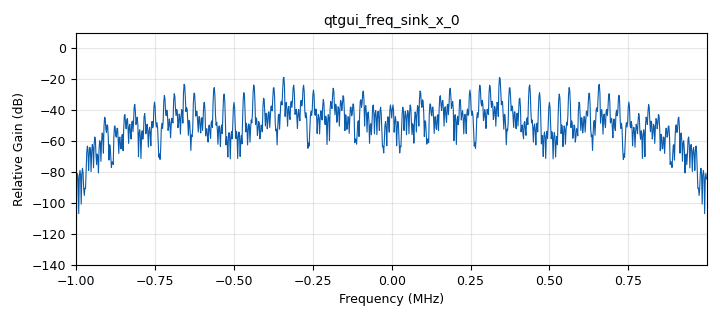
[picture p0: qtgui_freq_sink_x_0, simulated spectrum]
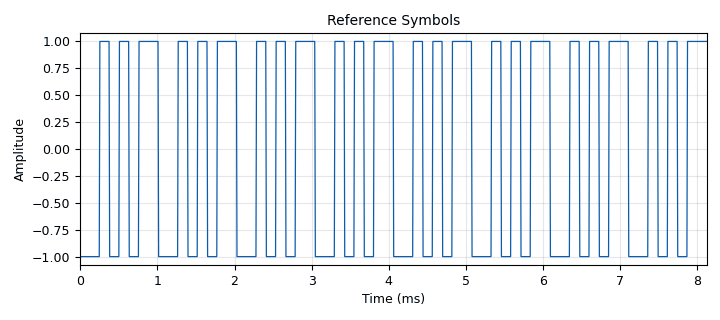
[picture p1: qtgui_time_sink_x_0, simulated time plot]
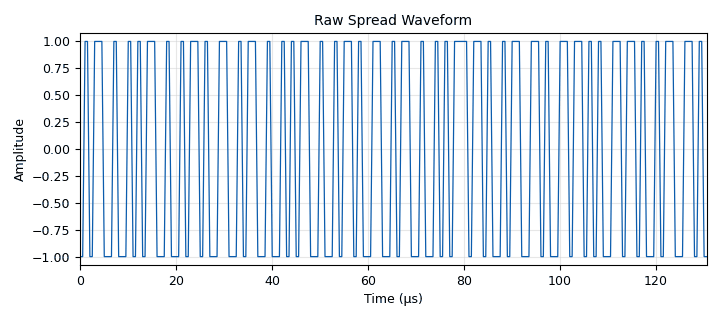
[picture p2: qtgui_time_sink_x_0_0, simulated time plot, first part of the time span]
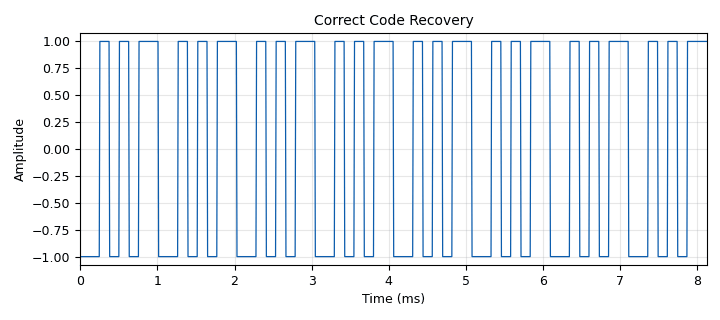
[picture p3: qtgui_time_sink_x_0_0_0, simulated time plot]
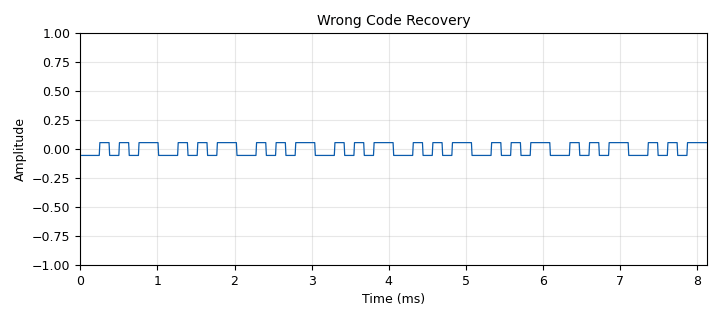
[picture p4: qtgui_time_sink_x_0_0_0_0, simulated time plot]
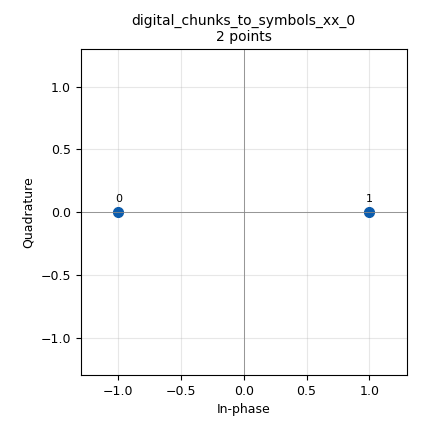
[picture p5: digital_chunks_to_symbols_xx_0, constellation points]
options:
  parameters:
    generate_options: qt_gui
    id: spreadtest
    output_language: python
    title: Not titled yet
  states: {}

blocks:
- name: bit_pattern
  id: variable
  parameters:
    value: '[1,0,1,1,0,0,1,0]'
  states: {}
- name: code_len
  id: variable
  parameters:
    value: '127'
  states: {}
- name: pn_code
  id: variable
  parameters:
    value: '[1,-1,1,1,-1,1,-1,-1,1,-1,1,1,-1,-1,1,1,-1,1,-1,-1,1,1,-1,1,1,-1,1,-1,1,-1,-1,1,1,-1,1,1,-1,1,-1,-1,1,-1,1,1,-1,-1,1,1,-1,1,-1,-1,1,1,-1,1,1,-1,1,-1,1,-1,-1,1,1,-1,1,1,-1,1,-1,-1,1,-1,1,1,-1,-1,1,1,-1,1,-1,-1,1,1,-1,1,1,-1,1,-1,1,-1,-1,1,1,-1,1,1,-1,1,-1,-1,1,-1,1,1,-1,-1,1,1,-1,1,-1,-1,1,1,-1,1,1,-1,1,-1,1,-1,-1]'
  states: {}
- name: samp_rate
  id: variable
  parameters:
    value: 2e6
  states: {}
- name: samples_per_symbol
  id: variable
  parameters:
    value: code_len * sps_chip
  states: {}
- name: sps_chip
  id: variable
  parameters:
    value: '2'
  states: {}
- name: wrong_code
  id: variable
  parameters:
    value: '[1 if ((37*i + 11) % 127) < 63 else -1 for i in range(code_len)]'
  states: {}
- name: blocks_keep_one_in_n_0
  id: blocks_keep_one_in_n
  parameters:
    n: samples_per_symbol
    type: float
  states: {}
- name: blocks_keep_one_in_n_0_0
  id: blocks_keep_one_in_n
  parameters:
    n: samples_per_symbol
    type: float
  states: {}
- name: blocks_moving_average_xx_0
  id: blocks_moving_average_xx
  parameters:
    length: samples_per_symbol
    max_iter: '4000'
    scale: 1.0 / samples_per_symbol
    type: float
  states: {}
- name: blocks_moving_average_xx_0_0
  id: blocks_moving_average_xx
  parameters:
    length: samples_per_symbol
    max_iter: '4000'
    scale: 1.0 / samples_per_symbol
    type: float
  states: {}
- name: blocks_multiply_xx_0
  id: blocks_multiply_xx
  parameters:
    type: float
  states: {}
- name: blocks_multiply_xx_0_0
  id: blocks_multiply_xx
  parameters:
    type: float
  states: {}
- name: blocks_multiply_xx_0_0_0
  id: blocks_multiply_xx
  parameters:
    type: float
  states: {}
- name: blocks_repeat_0
  id: blocks_repeat
  parameters:
    interp: samples_per_symbol
    type: float
  states: {}
- name: blocks_repeat_0_0
  id: blocks_repeat
  parameters:
    interp: sps_chip
    type: float
  states: {}
- name: blocks_repeat_0_0_0
  id: blocks_repeat
  parameters:
    interp: sps_chip
    type: float
  states: {}
- name: blocks_repeat_0_0_1
  id: blocks_repeat
  parameters:
    interp: '16'
    type: float
  states: {}
- name: blocks_repeat_0_0_1_0
  id: blocks_repeat
  parameters:
    interp: '16'
    type: float
  states: {}
- name: blocks_repeat_0_0_1_0_0
  id: blocks_repeat
  parameters:
    interp: '16'
    type: float
  states: {}
- name: blocks_throttle2_0
  id: blocks_throttle2
  parameters:
    samples_per_second: samp_rate
    type: float
  states: {}
- name: blocks_vector_source_x_0
  id: blocks_vector_source_x
  parameters:
    repeat: 'True'
    type: byte
    vector: bit_pattern
  states: {}
- name: blocks_vector_source_x_0_0
  id: blocks_vector_source_x
  parameters:
    repeat: 'True'
    type: float
    vector: pn_code
  states: {}
- name: blocks_vector_source_x_0_0_0
  id: blocks_vector_source_x
  parameters:
    repeat: 'True'
    type: float
    vector: wrong_code
  states: {}
- name: digital_chunks_to_symbols_xx_0
  id: digital_chunks_to_symbols_xx
  parameters:
    dimension: '1'
    in_type: byte
    out_type: float
    symbol_table: '[-1.0,1.0]'
  states: {}
- name: qtgui_freq_sink_x_0
  id: qtgui_freq_sink_x
  parameters:
    bw: samp_rate
    fc: '0'
    fftsize: '1024'
    type: float
  states: {}
- name: qtgui_time_sink_x_0
  id: qtgui_time_sink_x
  parameters:
    name: '"Reference Symbols"'
    size: '1024'
    srate: (samp_rate / samples_per_symbol) * 16
    type: float
  states: {}
- name: qtgui_time_sink_x_0_0
  id: qtgui_time_sink_x
  parameters:
    name: '"Raw Spread Waveform"'
    size: '1024'
    srate: samp_rate
    type: float
  states: {}
- name: qtgui_time_sink_x_0_0_0
  id: qtgui_time_sink_x
  parameters:
    name: '"Correct Code Recovery"'
    size: '1024'
    srate: (samp_rate / samples_per_symbol) * 16
    type: float
  states: {}
- name: qtgui_time_sink_x_0_0_0_0
  id: qtgui_time_sink_x
  parameters:
    name: '"Wrong Code Recovery"'
    size: '1024'
    srate: (samp_rate / samples_per_symbol) * 16
    type: float
  states: {}

connections:
- [blocks_keep_one_in_n_0, '0', blocks_repeat_0_0_1_0, '0']
- [blocks_keep_one_in_n_0_0, '0', blocks_repeat_0_0_1, '0']
- [blocks_moving_average_xx_0, '0', blocks_keep_one_in_n_0, '0']
- [blocks_moving_average_xx_0_0, '0', blocks_keep_one_in_n_0_0, '0']
- [blocks_multiply_xx_0, '0', blocks_throttle2_0, '0']
- [blocks_multiply_xx_0_0, '0', blocks_moving_average_xx_0, '0']
- [blocks_multiply_xx_0_0_0, '0', blocks_moving_average_xx_0_0, '0']
- [blocks_repeat_0, '0', blocks_multiply_xx_0, '0']
- [blocks_repeat_0_0, '0', blocks_multiply_xx_0, '1']
- [blocks_repeat_0_0, '0', blocks_multiply_xx_0_0, '1']
- [blocks_repeat_0_0_0, '0', blocks_multiply_xx_0_0_0, '1']
- [blocks_repeat_0_0_1, '0', qtgui_time_sink_x_0_0_0_0, '0']
- [blocks_repeat_0_0_1_0, '0', qtgui_time_sink_x_0_0_0, '0']
- [blocks_repeat_0_0_1_0_0, '0', qtgui_time_sink_x_0, '0']
- [blocks_throttle2_0, '0', blocks_multiply_xx_0_0, '0']
- [blocks_throttle2_0, '0', blocks_multiply_xx_0_0_0, '0']
- [blocks_throttle2_0, '0', qtgui_freq_sink_x_0, '0']
- [blocks_throttle2_0, '0', qtgui_time_sink_x_0_0, '0']
- [blocks_vector_source_x_0, '0', digital_chunks_to_symbols_xx_0, '0']
- [blocks_vector_source_x_0_0, '0', blocks_repeat_0_0, '0']
- [blocks_vector_source_x_0_0_0, '0', blocks_repeat_0_0_0, '0']
- [digital_chunks_to_symbols_xx_0, '0', blocks_repeat_0, '0']
- [digital_chunks_to_symbols_xx_0, '0', blocks_repeat_0_0_1_0_0, '0']

metadata:
  file_format: 1
  grc_version: 3.10.12.0
